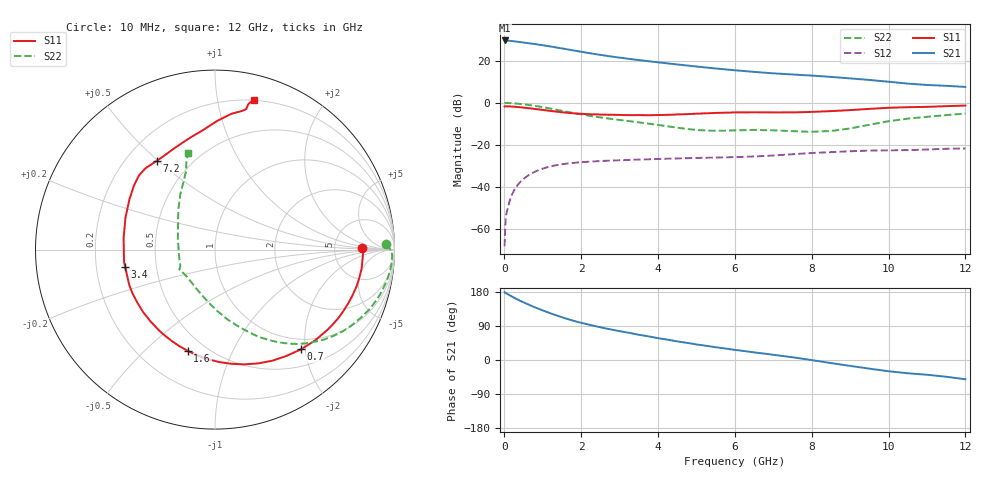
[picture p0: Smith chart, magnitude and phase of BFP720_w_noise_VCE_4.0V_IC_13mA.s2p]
! (c) 2012  Infineon Technologies AG, Munich
! Infineon Technologies  Discrete & RF Semiconductors
! BFP720
! VCE =  4.0 V,  IC =  13 mA
! Common Emitter S-Parameters:  Aug 2012
# GHz  S  MA  R  50
!  f  S11  S21  S12  S22
! GHz  MAG  ANG  MAG  ANG  MAG  ANG  MAG  ANG
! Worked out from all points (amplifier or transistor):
!   105 points, 10 MHz to 12 GHz, reference 50 ohm
!   highest |S21| = 29.5 dB at 10 MHz (marker M1)
!   |S21| within 3 dB of that: start of sweep to 1.251 GHz
!   unconditionally stable (mu >= 1): 5.04 GHz to 11.06 GHz
!   at 300 MHz: K = 0.16, MSG = 34.7 dB, |S12| = -40.3 dB
!   at 3.6 GHz: K = 0.78, MSG = 23.4 dB, |S12| = -26.9 dB
!   at 12 GHz: K = 0.77, MSG = 14.6 dB, |S12| = -21.6 dB
!   lowest NFmin = 0.59 dB at 450 MHz
!   S11 on the Smith chart (normalised r, x): 10 MHz: 9.90, +0.42; 700 MHz: 0.80, -1.92; 1.6 GHz: 0.40, -0.69; 3.4 GHz: 0.33, -0.08; 7.2 GHz: 0.33, +0.50; 12 GHz: 0.20, +1.27
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0.01  0.8169 0.5  30.02 179.2  0.0004 119.4  0.955 1.8
0.02  0.8255 -1.2  29.89 177.5  0.0008 65.7  0.9842 -0.5
0.05  0.8238 -3.4  29.99 176.0  0.0022 71.2  0.9877 -1.9
0.15  0.8196 -10.9  29.45 170.4  0.005 78.7  0.9828 -6.7
0.35  0.7938 -25.2  27.94 159.5  0.0112 74.6  0.9525 -15.3
0.5  0.77 -35.5  26.8 152.3  0.0156 69.8  0.9208 -21.3
0.7  0.7339 -49.2  25.34 143.3  0.0209 63.4  0.8714 -28.9
0.9  0.6966 -62.7  23.9 135.0  0.0255 57.6  0.8174 -36.0
1.1  0.6602 -75.6  22.38 127.1  0.0294 52.1  0.7593 -42.5
1.3  0.6267 -88.0  20.89 119.7  0.0325 47.3  0.7022 -48.5
1.6  0.5842 -105.1  18.79 109.6  0.0359 41.1  0.6213 -56.0
1.8  0.564 -115.0  17.44 103.6  0.0377 37.7  0.5734 -60.4
2.1  0.5421 -127.9  15.65 95.8  0.0396 33.7  0.5135 -66.1
2.6  0.524 -145.6  13.24 84.2  0.042 28.7  0.4375 -74.2
3.4  0.5099 -169.3  10.57 68.7  0.0448 23.5  0.353 -86.0
4.1  0.5145 170.2  8.901 56.1  0.0469 20.5  0.2897 -98.6
5  0.5525 149.7  7.244 41.0  0.0492 17.4  0.2279 -123.2
6.1  0.5924 134.7  5.799 25.5  0.052 15.6  0.2232 -147.6
7.2  0.5916 123.1  4.867 11.2  0.0579 15.2  0.2187 -153.1
8.5  0.6354 103.4  4.109 -8.1  0.0677 9.3  0.2147 164.4
10.5  0.7861 79.1  2.849 -35.0  0.0757 -2.8  0.4214 114.4
12  0.8608 75.5  2.376 -50.8  0.0827 -11.4  0.5566 105.6
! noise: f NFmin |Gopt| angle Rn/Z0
0.45  0.59  0.25  1  0.17
1.8  0.65  0.23  16  0.13
2.4  0.7  0.21  29  0.37
5.5  0.86  0.09  -13  0.17
10  1.05  0.42  -76  0.26
